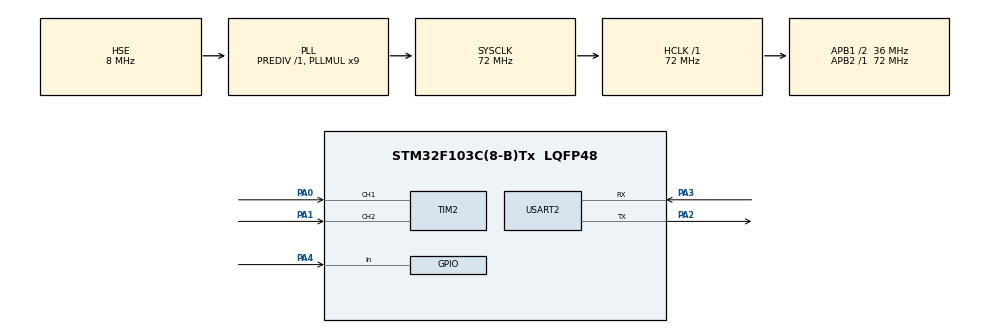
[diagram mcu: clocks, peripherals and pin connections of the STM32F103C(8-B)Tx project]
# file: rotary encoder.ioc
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Mcu.Family=STM32F1
Mcu.Name=STM32F103C(8-B)Tx
Mcu.Package=LQFP48
NVIC.PriorityGroup=NVIC_PRIORITYGROUP_4
PA0-WKUP.Signal=S_TIM2_CH1_ETR
PA1.Signal=S_TIM2_CH2
PA2.Mode=Asynchronous
PA2.Signal=USART2_TX
PA3.Mode=Asynchronous
PA3.Signal=USART2_RX
PA4.Signal=GPIO_Input
PD0-OSC_IN.Mode=HSE-External-Oscillator
PD0-OSC_IN.Signal=RCC_OSC_IN
PD1-OSC_OUT.Mode=HSE-External-Oscillator
PD1-OSC_OUT.Signal=RCC_OSC_OUT
ProjectManager.HeapSize=0x200
ProjectManager.StackSize=0x400
ProjectManager.TargetToolchain=STM32CubeIDE
RCC.AHBFreq_Value=72000000
RCC.APB1CLKDivider=RCC_HCLK_DIV2
RCC.APB1Freq_Value=36000000
RCC.APB1TimFreq_Value=72000000
RCC.APB2Freq_Value=72000000
RCC.APB2TimFreq_Value=72000000
RCC.HCLKFreq_Value=72000000
RCC.PLLMUL=RCC_PLL_MUL9
RCC.PLLSourceVirtual=RCC_PLLSOURCE_HSE
RCC.SYSCLKFreq_VALUE=72000000
RCC.SYSCLKSource=RCC_SYSCLKSOURCE_PLLCLK
RCC.USBFreq_Value=72000000
SH.S_TIM2_CH1_ETR.0=TIM2_CH1,Encoder_Interface
SH.S_TIM2_CH2.0=TIM2_CH2,Encoder_Interface
TIM2.AutoReloadPreload=TIM_AUTORELOAD_PRELOAD_ENABLE
TIM2.EncoderMode=TIM_ENCODERMODE_TI12
TIM2.IC1Filter=10
TIM2.IC2Filter=10
USART2.VirtualMode=VM_ASYNC
board=custom

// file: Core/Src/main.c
/* USER CODE BEGIN Header */
/**
  ******************************************************************************
  * @file           : main.c
  * @brief          : Main program body
  ******************************************************************************
  * @attention
  *
  * Copyright (c) 2023 STMicroelectronics.
  * All rights reserved.
  *
  * This software is licensed under terms that can be found in the LICENSE file
  * in the root directory of this software component.
  * If no LICENSE file comes with this software, it is provided AS-IS.
  *
  ******************************************************************************
  */
/* USER CODE END Header */
#include "main.h"

/* USER CODE BEGIN Includes */
#include"stdio.h"
/* USER CODE END Includes */

TIM_HandleTypeDef htim2;

UART_HandleTypeDef huart2;

void SystemClock_Config(void);
static void MX_GPIO_Init(void);
static void MX_TIM2_Init(void);
static void MX_USART2_UART_Init(void);

int main(void)
{
  /* USER CODE BEGIN 1 */
	 uint8_t message[50] = {'\0'};

	  /* Reset of all peripherals, Initializes the Flash interface and the Systick. */
	  HAL_Init();

	  /* Configure the system clock */
	  SystemClock_Config();

	  /* Initialize all configured peripherals */
	  MX_GPIO_Init();
	  MX_TIM2_Init();
	  MX_USART2_UART_Init();

	  HAL_TIM_Encoder_Start(&htim2, TIM_CHANNEL_ALL);
  /* USER CODE END 1 */

  /* MCU Configuration--------------------------------------------------------*/

  /* Reset of all peripherals, Initializes the Flash interface and the Systick. */
  HAL_Init();

  /* Configure the system clock */
  SystemClock_Config();

  /* Initialize all configured peripherals */
  MX_GPIO_Init();
  MX_TIM2_Init();
  MX_USART2_UART_Init();

  /* Infinite loop */
  /* USER CODE BEGIN WHILE */
  while (1)
  {
	  if(HAL_GPIO_ReadPin (GPIOA, GPIO_PIN_4))
	            {
	                sprintf(message, "Switch Released, Encoder Ticks = %d\n\r", ((TIM2->CNT)<<5));
	                HAL_UART_Transmit(&huart2, message, sizeof(message), 100);
	            }
	            else
	            {
	                sprintf(message, "Switch Pressed,  Encoder Ticks = %d\n\r", ((TIM2->CNT)<<5));
	                HAL_UART_Transmit(&huart2, message, sizeof(message), 250);
	            }
	            HAL_Delay(250);

    /* USER CODE END WHILE */

  }
}

void SystemClock_Config(void)
{
  RCC_OscInitTypeDef RCC_OscInitStruct = {0};
  RCC_ClkInitTypeDef RCC_ClkInitStruct = {0};

  /** Initializes the RCC Oscillators according to the specified parameters
  * in the RCC_OscInitTypeDef structure.
  */
  RCC_OscInitStruct.OscillatorType = RCC_OSCILLATORTYPE_HSE;
  RCC_OscInitStruct.HSEState = RCC_HSE_ON;
  RCC_OscInitStruct.HSEPredivValue = RCC_HSE_PREDIV_DIV1;
  RCC_OscInitStruct.HSIState = RCC_HSI_ON;
  RCC_OscInitStruct.PLL.PLLState = RCC_PLL_ON;
  RCC_OscInitStruct.PLL.PLLSource = RCC_PLLSOURCE_HSE;
  RCC_OscInitStruct.PLL.PLLMUL = RCC_PLL_MUL9;
  if (HAL_RCC_OscConfig(&RCC_OscInitStruct) != HAL_OK)
  {
    Error_Handler();
  }

  /** Initializes the CPU, AHB and APB buses clocks
  */
  RCC_ClkInitStruct.ClockType = RCC_CLOCKTYPE_HCLK|RCC_CLOCKTYPE_SYSCLK
                              |RCC_CLOCKTYPE_PCLK1|RCC_CLOCKTYPE_PCLK2;
  RCC_ClkInitStruct.SYSCLKSource = RCC_SYSCLKSOURCE_PLLCLK;
  RCC_ClkInitStruct.AHBCLKDivider = RCC_SYSCLK_DIV1;
  RCC_ClkInitStruct.APB1CLKDivider = RCC_HCLK_DIV2;
  RCC_ClkInitStruct.APB2CLKDivider = RCC_HCLK_DIV1;

  if (HAL_RCC_ClockConfig(&RCC_ClkInitStruct, FLASH_LATENCY_2) != HAL_OK)
  {
    Error_Handler();
  }
}

static void MX_TIM2_Init(void)
{

  TIM_Encoder_InitTypeDef sConfig = {0};
  TIM_MasterConfigTypeDef sMasterConfig = {0};

  htim2.Instance = TIM2;
  htim2.Init.Prescaler = 0;
  htim2.Init.CounterMode = TIM_COUNTERMODE_UP;
  htim2.Init.Period = 65535;
  htim2.Init.ClockDivision = TIM_CLOCKDIVISION_DIV1;
  htim2.Init.AutoReloadPreload = TIM_AUTORELOAD_PRELOAD_ENABLE;
  sConfig.EncoderMode = TIM_ENCODERMODE_TI12;
  sConfig.IC1Polarity = TIM_ICPOLARITY_RISING;
  sConfig.IC1Selection = TIM_ICSELECTION_DIRECTTI;
  sConfig.IC1Prescaler = TIM_ICPSC_DIV1;
  sConfig.IC1Filter = 10;
  sConfig.IC2Polarity = TIM_ICPOLARITY_RISING;
  sConfig.IC2Selection = TIM_ICSELECTION_DIRECTTI;
  sConfig.IC2Prescaler = TIM_ICPSC_DIV1;
  sConfig.IC2Filter = 10;
  if (HAL_TIM_Encoder_Init(&htim2, &sConfig) != HAL_OK)
  {
    Error_Handler();
  }
  sMasterConfig.MasterOutputTrigger = TIM_TRGO_RESET;
  sMasterConfig.MasterSlaveMode = TIM_MASTERSLAVEMODE_DISABLE;
  if (HAL_TIMEx_MasterConfigSynchronization(&htim2, &sMasterConfig) != HAL_OK)
  {
    Error_Handler();
  }

}

static void MX_USART2_UART_Init(void)
{

  huart2.Instance = USART2;
  huart2.Init.BaudRate = 115200;
  huart2.Init.WordLength = UART_WORDLENGTH_8B;
  huart2.Init.StopBits = UART_STOPBITS_1;
  huart2.Init.Parity = UART_PARITY_NONE;
  huart2.Init.Mode = UART_MODE_TX_RX;
  huart2.Init.HwFlowCtl = UART_HWCONTROL_NONE;
  huart2.Init.OverSampling = UART_OVERSAMPLING_16;
  if (HAL_UART_Init(&huart2) != HAL_OK)
  {
    Error_Handler();
  }

}

static void MX_GPIO_Init(void)
{
  GPIO_InitTypeDef GPIO_InitStruct = {0};

  /* GPIO Ports Clock Enable */
  __HAL_RCC_GPIOD_CLK_ENABLE();
  __HAL_RCC_GPIOA_CLK_ENABLE();

  /*Configure GPIO pin : PA4 */
  GPIO_InitStruct.Pin = GPIO_PIN_4;
  GPIO_InitStruct.Mode = GPIO_MODE_INPUT;
  GPIO_InitStruct.Pull = GPIO_NOPULL;
  HAL_GPIO_Init(GPIOA, &GPIO_InitStruct);

}

void Error_Handler(void)
{
  __disable_irq();
  while (1)
  {
  }
}
